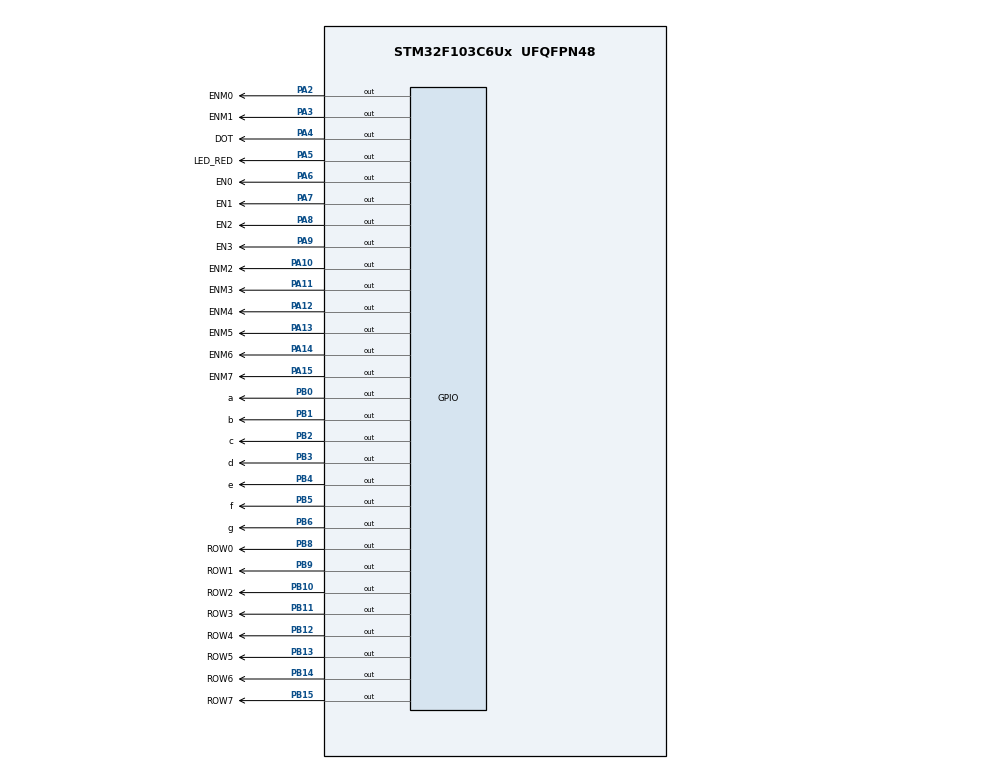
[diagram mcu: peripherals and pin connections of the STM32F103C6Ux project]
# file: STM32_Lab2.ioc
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Mcu.Family=STM32F1
Mcu.Name=STM32F103C6Ux
Mcu.Package=UFQFPN48
NVIC.PriorityGroup=NVIC_PRIORITYGROUP_4
NVIC.TIM2_IRQn=true\:0\:0\:false\:false\:true\:true\:true
PA10.GPIO_Label=ENM2
PA10.PinState=GPIO_PIN_RESET
PA10.Signal=GPIO_Output
PA11.GPIO_Label=ENM3
PA11.PinState=GPIO_PIN_RESET
PA11.Signal=GPIO_Output
PA12.GPIO_Label=ENM4
PA12.PinState=GPIO_PIN_RESET
PA12.Signal=GPIO_Output
PA13.GPIO_Label=ENM5
PA13.PinState=GPIO_PIN_RESET
PA13.Signal=GPIO_Output
PA14.GPIO_Label=ENM6
PA14.PinState=GPIO_PIN_RESET
PA14.Signal=GPIO_Output
PA15.GPIO_Label=ENM7
PA15.PinState=GPIO_PIN_RESET
PA15.Signal=GPIO_Output
PA2.GPIO_Label=ENM0
PA2.PinState=GPIO_PIN_RESET
PA2.Signal=GPIO_Output
PA3.GPIO_Label=ENM1
PA3.PinState=GPIO_PIN_RESET
PA3.Signal=GPIO_Output
PA4.GPIO_Label=DOT
PA4.PinState=GPIO_PIN_SET
PA4.Signal=GPIO_Output
PA5.GPIO_Label=LED_RED
PA5.PinState=GPIO_PIN_SET
PA5.Signal=GPIO_Output
PA6.GPIO_Label=EN0
PA6.PinState=GPIO_PIN_SET
PA6.Signal=GPIO_Output
PA7.GPIO_Label=EN1
PA7.PinState=GPIO_PIN_SET
PA7.Signal=GPIO_Output
PA8.GPIO_Label=EN2
PA8.PinState=GPIO_PIN_SET
PA8.Signal=GPIO_Output
PA9.GPIO_Label=EN3
PA9.PinState=GPIO_PIN_SET
PA9.Signal=GPIO_Output
PB0.GPIO_Label=a
PB0.PinState=GPIO_PIN_SET
PB0.Signal=GPIO_Output
PB1.GPIO_Label=b
PB1.PinState=GPIO_PIN_SET
PB1.Signal=GPIO_Output
PB10.GPIO_Label=ROW2
PB10.PinState=GPIO_PIN_RESET
PB10.Signal=GPIO_Output
PB11.GPIO_Label=ROW3
PB11.PinState=GPIO_PIN_RESET
PB11.Signal=GPIO_Output
PB12.GPIO_Label=ROW4
PB12.PinState=GPIO_PIN_RESET
PB12.Signal=GPIO_Output
PB13.GPIO_Label=ROW5
PB13.PinState=GPIO_PIN_RESET
PB13.Signal=GPIO_Output
PB14.GPIO_Label=ROW6
PB14.PinState=GPIO_PIN_RESET
PB14.Signal=GPIO_Output
PB15.GPIO_Label=ROW7
PB15.PinState=GPIO_PIN_RESET
PB15.Signal=GPIO_Output
PB2.GPIO_Label=c
PB2.PinState=GPIO_PIN_SET
PB2.Signal=GPIO_Output
PB3.GPIO_Label=d
PB3.PinState=GPIO_PIN_SET
PB3.Signal=GPIO_Output
PB4.GPIO_Label=e
PB4.PinState=GPIO_PIN_SET
PB4.Signal=GPIO_Output
PB5.GPIO_Label=f
PB5.PinState=GPIO_PIN_SET
PB5.Signal=GPIO_Output
PB6.GPIO_Label=g
PB6.PinState=GPIO_PIN_SET
PB6.Signal=GPIO_Output
PB8.GPIO_Label=ROW0
PB8.PinState=GPIO_PIN_RESET
PB8.Signal=GPIO_Output
PB9.GPIO_Label=ROW1
PB9.PinState=GPIO_PIN_RESET
PB9.Signal=GPIO_Output
ProjectManager.HeapSize=0x200
ProjectManager.StackSize=0x400
ProjectManager.TargetToolchain=STM32CubeIDE
RCC.APB1Freq_Value=8000000
RCC.APB2Freq_Value=8000000
TIM2.Period=9
TIM2.Prescaler=7999
VP_SYS_VS_ND.Mode=No_Debug
VP_TIM2_VS_ClockSourceINT.Mode=Internal
board=custom

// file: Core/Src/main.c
/* USER CODE BEGIN Header */
/**
  ******************************************************************************
  * @file           : main.c
  * @brief          : Main program body
  ******************************************************************************
  * @attention
  *
  * <h2><center>&copy; Copyright (c) 2026 STMicroelectronics.
  * All rights reserved.</center></h2>
  *
  * This software component is licensed by ST under BSD 3-Clause license,
  * the "License"; You may not use this file except in compliance with the
  * License. You may obtain a copy of the License at:
  *                        opensource.org/licenses/BSD-3-Clause
  *
  ******************************************************************************
  */
/* USER CODE END Header */
#include "main.h"

/* USER CODE BEGIN Includes */
#include "software_timer.h"
/* USER CODE END Includes */

TIM_HandleTypeDef htim2;

void SystemClock_Config(void);
static void MX_GPIO_Init(void);
static void MX_TIM2_Init(void);

/* USER CODE BEGIN 0 */
// Module bài 8: CLOCK 7SEG
const uint8_t seg7_map[10] = {
    0x40, // 0
    0x79, // 1
    0x24, // 2
    0x30, // 3
    0x19, // 4
    0x12, // 5
    0x02, // 6
    0x78, // 7
    0x00, // 8
    0x10  // 9
};
// Hàm xuất dữ liệu 7 đoạn ra các chân PB0 - PB6
void display7SEG(int num) {
    if (num < 0 || num > 9) return;
    uint8_t code = seg7_map[num];

    HAL_GPIO_WritePin(GPIOB, GPIO_PIN_0, (code & 0x01) ? GPIO_PIN_SET : GPIO_PIN_RESET);
    HAL_GPIO_WritePin(GPIOB, GPIO_PIN_1, (code & 0x02) ? GPIO_PIN_SET : GPIO_PIN_RESET);
    HAL_GPIO_WritePin(GPIOB, GPIO_PIN_2, (code & 0x04) ? GPIO_PIN_SET : GPIO_PIN_RESET);
    HAL_GPIO_WritePin(GPIOB, GPIO_PIN_3, (code & 0x08) ? GPIO_PIN_SET : GPIO_PIN_RESET);
    HAL_GPIO_WritePin(GPIOB, GPIO_PIN_4, (code & 0x10) ? GPIO_PIN_SET : GPIO_PIN_RESET);
    HAL_GPIO_WritePin(GPIOB, GPIO_PIN_5, (code & 0x20) ? GPIO_PIN_SET : GPIO_PIN_RESET);
    HAL_GPIO_WritePin(GPIOB, GPIO_PIN_6, (code & 0x40) ? GPIO_PIN_SET : GPIO_PIN_RESET);
}

// Khai báo biến và bộ đệm hiển thị cho 4 LED 7 đoạn
const int MAX_LED = 4;
int index_led = 0;
int led_buffer[4] = {1, 5, 0, 8};

int hour = 15;
int min = 8;
int sec = 57;

// Hàm tình giờ và phút vào led_buffer
void updateClockBuffer(void) {
    led_buffer[0] = hour / 10;
    led_buffer[1] = hour % 10;
    led_buffer[2] = min / 10;
    led_buffer[3] = min % 10;
}

void update7SEG(int index) {
    // Tắt toàn bộ 4 LED trước khi kích LED mới
    HAL_GPIO_WritePin(GPIOA, EN0_Pin | EN1_Pin | EN2_Pin | EN3_Pin, GPIO_PIN_SET);

    switch (index) {
        case 0: display7SEG(led_buffer[0]); HAL_GPIO_WritePin(GPIOA, EN0_Pin, GPIO_PIN_RESET); break;

        case 1: display7SEG(led_buffer[1]); HAL_GPIO_WritePin(GPIOA, EN1_Pin, GPIO_PIN_RESET); break;

        case 2: display7SEG(led_buffer[2]); HAL_GPIO_WritePin(GPIOA, EN2_Pin, GPIO_PIN_RESET); break;

        case 3: display7SEG(led_buffer[3]); HAL_GPIO_WritePin(GPIOA, EN3_Pin, GPIO_PIN_RESET); break;

        default: break;
    }
}

// Module bài 9: Matrix 8x8
const int MAX_LED_MATRIX = 8;
int index_led_matrix = 0;

uint8_t matrix_buffer[8] = {0x00, 0xFC, 0x12, 0x11, 0x11, 0x12, 0xFC, 0x00};

void clearAllColumns(){
	HAL_GPIO_WritePin(GPIOA, ENM0_Pin | ENM1_Pin | ENM2_Pin | ENM3_Pin |
            ENM4_Pin | ENM5_Pin | ENM6_Pin | ENM7_Pin, GPIO_PIN_RESET);
}

void setColumn(int col_index){
	clearAllColumns();
	switch (col_index){
	case 0: HAL_GPIO_WritePin(GPIOA, ENM0_Pin, GPIO_PIN_SET); break;
	case 1: HAL_GPIO_WritePin(GPIOA, ENM1_Pin, GPIO_PIN_SET); break;
	case 2:	HAL_GPIO_WritePin(GPIOA, ENM2_Pin, GPIO_PIN_SET); break;
	case 3:	HAL_GPIO_WritePin(GPIOA, ENM3_Pin, GPIO_PIN_SET); break;
	case 4:	HAL_GPIO_WritePin(GPIOA, ENM4_Pin, GPIO_PIN_SET); break;
	case 5:	HAL_GPIO_WritePin(GPIOA, ENM5_Pin, GPIO_PIN_SET); break;
	case 6:	HAL_GPIO_WritePin(GPIOA, ENM6_Pin, GPIO_PIN_SET); break;
	case 7:	HAL_GPIO_WritePin(GPIOA, ENM7_Pin, GPIO_PIN_SET); break;
	default: break;
	}
}

void setRows(uint8_t data){
	HAL_GPIO_WritePin(GPIOB, ROW0_Pin, (data & 0x01) ? GPIO_PIN_SET : GPIO_PIN_RESET);
	HAL_GPIO_WritePin(GPIOB, ROW1_Pin, (data & 0x02) ? GPIO_PIN_SET : GPIO_PIN_RESET);
	HAL_GPIO_WritePin(GPIOB, ROW2_Pin, (data & 0x04) ? GPIO_PIN_SET : GPIO_PIN_RESET);
	HAL_GPIO_WritePin(GPIOB, ROW3_Pin, (data & 0x08) ? GPIO_PIN_SET : GPIO_PIN_RESET);
	HAL_GPIO_WritePin(GPIOB, ROW4_Pin, (data & 0x10) ? GPIO_PIN_SET : GPIO_PIN_RESET);
	HAL_GPIO_WritePin(GPIOB, ROW5_Pin, (data & 0x20) ? GPIO_PIN_SET : GPIO_PIN_RESET);
	HAL_GPIO_WritePin(GPIOB, ROW6_Pin, (data & 0x40) ? GPIO_PIN_SET : GPIO_PIN_RESET);
	HAL_GPIO_WritePin(GPIOB, ROW7_Pin, (data & 0x80) ? GPIO_PIN_SET : GPIO_PIN_RESET);
}

void updateLEDMatrix(int index){
	if(index < 0 || index >= MAX_LED_MATRIX) return;
	clearAllColumns();

	setRows(matrix_buffer[index]);

	setColumn(index);
}

// Module bài 10: Left shiftting
void shiftLeftMatrix(){
	uint8_t temp = matrix_buffer[MAX_LED_MATRIX-1];
	for(int i = MAX_LED_MATRIX; i > 0; i--){
		matrix_buffer[i] = matrix_buffer[i-1];
	}
	matrix_buffer[0] = temp;
}

/* USER CODE END 0 */

int main(void)
{

  /* MCU Configuration--------------------------------------------------------*/

  /* Reset of all peripherals, Initializes the Flash interface and the Systick. */
  HAL_Init();

  /* Configure the system clock */
  SystemClock_Config();

  /* Initialize all configured peripherals */
  MX_GPIO_Init();
  MX_TIM2_Init();

  /* USER CODE BEGIN 2 */
//  __HAL_AFIO_REMAP_SWJ_DISABLE();
  HAL_TIM_Base_Start_IT(&htim2);
  updateClockBuffer();
  setTimer(0, 250);
  setTimer(1, 1000);
  setTimer(2, 10);
  setTimer(3, 200);

  /* USER CODE END 2 */

  /* Infinite loop */
  /* USER CODE BEGIN WHILE */
  while (1)
  {
	  if(timer_flag[0] == 1){
		  setTimer(0, 250);
		  update7SEG(index_led);
		  index_led++;
		  if(index_led >= MAX_LED){
			  index_led = 0;
		  }
	  }

	  if(timer_flag[1] == 1){
		  setTimer(1, 1000);
		  HAL_GPIO_TogglePin(GPIOA, DOT_Pin);
		  HAL_GPIO_TogglePin(GPIOA, LED_RED_Pin);

		  sec++;
		  if (sec>=60){
			  sec=0;
			  min++;
			  if(min>=60){
				  min=0;
				  hour++;
				  if(hour>=24) hour=0;
			  }
		  }
		  updateClockBuffer();
	  }

	  if(timer_flag[2] == 1){
		  setTimer(2, 10);
		  updateLEDMatrix(index_led_matrix);
		  	  index_led_matrix++;
		  	  if (index_led_matrix >= MAX_LED_MATRIX) {
			  index_led_matrix = 0;
		  	  }
	  }

	  if(timer_flag[3] == 1){
		  setTimer(3, 200);
		  shiftLeftMatrix();
	  }

    /* USER CODE END WHILE */

  }
}

void SystemClock_Config(void)
{
  RCC_OscInitTypeDef RCC_OscInitStruct = {0};
  RCC_ClkInitTypeDef RCC_ClkInitStruct = {0};

  /** Initializes the RCC Oscillators according to the specified parameters
  * in the RCC_OscInitTypeDef structure.
  */
  RCC_OscInitStruct.OscillatorType = RCC_OSCILLATORTYPE_HSI;
  RCC_OscInitStruct.HSIState = RCC_HSI_ON;
  RCC_OscInitStruct.HSICalibrationValue = RCC_HSICALIBRATION_DEFAULT;
  RCC_OscInitStruct.PLL.PLLState = RCC_PLL_NONE;
  if (HAL_RCC_OscConfig(&RCC_OscInitStruct) != HAL_OK)
  {
    Error_Handler();
  }
  /** Initializes the CPU, AHB and APB buses clocks
  */
  RCC_ClkInitStruct.ClockType = RCC_CLOCKTYPE_HCLK|RCC_CLOCKTYPE_SYSCLK
                              |RCC_CLOCKTYPE_PCLK1|RCC_CLOCKTYPE_PCLK2;
  RCC_ClkInitStruct.SYSCLKSource = RCC_SYSCLKSOURCE_HSI;
  RCC_ClkInitStruct.AHBCLKDivider = RCC_SYSCLK_DIV1;
  RCC_ClkInitStruct.APB1CLKDivider = RCC_HCLK_DIV1;
  RCC_ClkInitStruct.APB2CLKDivider = RCC_HCLK_DIV1;

  if (HAL_RCC_ClockConfig(&RCC_ClkInitStruct, FLASH_LATENCY_0) != HAL_OK)
  {
    Error_Handler();
  }
}

static void MX_TIM2_Init(void)
{

  TIM_ClockConfigTypeDef sClockSourceConfig = {0};
  TIM_MasterConfigTypeDef sMasterConfig = {0};

  htim2.Instance = TIM2;
  htim2.Init.Prescaler = 7999;
  htim2.Init.CounterMode = TIM_COUNTERMODE_UP;
  htim2.Init.Period = 9;
  htim2.Init.ClockDivision = TIM_CLOCKDIVISION_DIV1;
  htim2.Init.AutoReloadPreload = TIM_AUTORELOAD_PRELOAD_DISABLE;
  if (HAL_TIM_Base_Init(&htim2) != HAL_OK)
  {
    Error_Handler();
  }
  sClockSourceConfig.ClockSource = TIM_CLOCKSOURCE_INTERNAL;
  if (HAL_TIM_ConfigClockSource(&htim2, &sClockSourceConfig) != HAL_OK)
  {
    Error_Handler();
  }
  sMasterConfig.MasterOutputTrigger = TIM_TRGO_RESET;
  sMasterConfig.MasterSlaveMode = TIM_MASTERSLAVEMODE_DISABLE;
  if (HAL_TIMEx_MasterConfigSynchronization(&htim2, &sMasterConfig) != HAL_OK)
  {
    Error_Handler();
  }

}

static void MX_GPIO_Init(void)
{
  GPIO_InitTypeDef GPIO_InitStruct = {0};

  /* GPIO Ports Clock Enable */
  __HAL_RCC_GPIOA_CLK_ENABLE();
  __HAL_RCC_GPIOB_CLK_ENABLE();

  /*Configure GPIO pin Output Level */
  HAL_GPIO_WritePin(GPIOA, ENM0_Pin|ENM1_Pin|ENM2_Pin|ENM3_Pin
                          |ENM4_Pin|ENM5_Pin|ENM6_Pin|ENM7_Pin, GPIO_PIN_RESET);

  /*Configure GPIO pin Output Level */
  HAL_GPIO_WritePin(GPIOA, DOT_Pin|LED_RED_Pin|EN0_Pin|EN1_Pin
                          |EN2_Pin|EN3_Pin, GPIO_PIN_SET);

  /*Configure GPIO pin Output Level */
  HAL_GPIO_WritePin(GPIOB, a_Pin|b_Pin|c_Pin|d_Pin
                          |e_Pin|f_Pin|g_Pin, GPIO_PIN_SET);

  /*Configure GPIO pin Output Level */
  HAL_GPIO_WritePin(GPIOB, ROW2_Pin|ROW3_Pin|ROW4_Pin|ROW5_Pin
                          |ROW6_Pin|ROW7_Pin|ROW0_Pin|ROW1_Pin, GPIO_PIN_RESET);

  /*Configure GPIO pins : ENM0_Pin ENM1_Pin DOT_Pin LED_RED_Pin
                           EN0_Pin EN1_Pin EN2_Pin EN3_Pin
                           ENM2_Pin ENM3_Pin ENM4_Pin ENM5_Pin
                           ENM6_Pin ENM7_Pin */
  GPIO_InitStruct.Pin = ENM0_Pin|ENM1_Pin|DOT_Pin|LED_RED_Pin
                          |EN0_Pin|EN1_Pin|EN2_Pin|EN3_Pin
                          |ENM2_Pin|ENM3_Pin|ENM4_Pin|ENM5_Pin
                          |ENM6_Pin|ENM7_Pin;
  GPIO_InitStruct.Mode = GPIO_MODE_OUTPUT_PP;
  GPIO_InitStruct.Pull = GPIO_NOPULL;
  GPIO_InitStruct.Speed = GPIO_SPEED_FREQ_LOW;
  HAL_GPIO_Init(GPIOA, &GPIO_InitStruct);

  /*Configure GPIO pins : a_Pin b_Pin c_Pin ROW2_Pin
                           ROW3_Pin ROW4_Pin ROW5_Pin ROW6_Pin
                           ROW7_Pin d_Pin e_Pin f_Pin
                           g_Pin ROW0_Pin ROW1_Pin */
  GPIO_InitStruct.Pin = a_Pin|b_Pin|c_Pin|ROW2_Pin
                          |ROW3_Pin|ROW4_Pin|ROW5_Pin|ROW6_Pin
                          |ROW7_Pin|d_Pin|e_Pin|f_Pin
                          |g_Pin|ROW0_Pin|ROW1_Pin;
  GPIO_InitStruct.Mode = GPIO_MODE_OUTPUT_PP;
  GPIO_InitStruct.Pull = GPIO_NOPULL;
  GPIO_InitStruct.Speed = GPIO_SPEED_FREQ_LOW;
  HAL_GPIO_Init(GPIOB, &GPIO_InitStruct);

}

/* USER CODE BEGIN 4 */

void HAL_TIM_PeriodElapsedCallback(TIM_HandleTypeDef *htim){
	if(htim->Instance == TIM2){
		timerRun();
	}
}

/* USER CODE END 4 */

void Error_Handler(void)
{
  __disable_irq();
  while (1)
  {
  }
}

/************************ (C) COPYRIGHT STMicroelectronics *****END OF FILE****/
